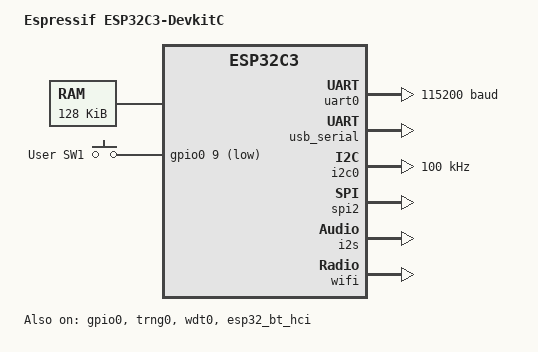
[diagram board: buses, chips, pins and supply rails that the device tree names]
// ESP32-C3-DevKitC Device Tree
// ESP32-C3-DevKitC 设备树
//
// 基于 Zephyr 的 esp32c3_devkitc 设备树配置移植

/dts-v1/;

/ {
    model = "Espressif ESP32C3-DevkitC";
    compatible = "espressif,esp32c3";

    // 内存定义
    // SRAM1
    sram1: memory@403ce000 {
        device_type = "memory";
        reg = <0x403ce000 0x20000>;
    };

    // Flash
    flash0: flash@0 {
        compatible = "soc-nv-flash";
        reg = <0x00000000 0x400000>;
    };

    // GPIO 按键节点定义
    gpio_keys {
        compatible = "gpio-keys";

        user_button1: button_1 {
            label = "User SW1";
            gpios = <&gpio0 9 9>;
            status = "okay";
        };
    };

    // SoC 节点定义
    soc {
        #address-cells = <1>;
        #size-cells = <1>;
        compatible = "espressif,esp32c3";
        ranges;

        // GPIO0 控制器
        gpio0: gpio@3ff44000 {
            compatible = "espressif,gpio";
            reg = <0x3ff44000 0x400>;
            status = "okay";
        };

        // UART0 串口节点定义
        uart0: serial@3ff40000 {
            compatible = "espressif,uart";
            reg = <0x3ff40000 0x400>;
            interrupts = <22>;
            status = "okay";
            current-speed = <115200>;
        };

        // USB Serial 控制器
        usb_serial: usb@60000000 {
            compatible = "espressif,usb-serial";
            reg = <0x60000000 0x10000>;
            interrupts = <20>;
            status = "okay";
        };

        // I2C0 总线节点定义
        i2c0: i2c@3ff3f000 {
            compatible = "espressif,i2c";
            reg = <0x3ff3f000 0x1000>;
            interrupts = <27>;
            clock-frequency = <100000>;
            status = "okay";
        };

        // SPI2 总线节点定义
        spi2: spi@3ff64000 {
            compatible = "espressif,spi";
            reg = <0x3ff64000 0x1000>;
            interrupts = <36>;
            status = "okay";
        };

        // I2S 音频接口
        i2s: i2s@3ff4f000 {
            compatible = "espressif,i2s";
            reg = <0x3ff4f000 0x1000>;
            interrupts = <35>;
            status = "okay";
        };

        // TRNG 随机数生成器
        trng0: trng@3ff5e000 {
            compatible = "espressif,trng";
            reg = <0x3ff5e000 0x1000>;
            status = "okay";
        };

        // 看门狗
        wdt0: watchdog@3ff5f000 {
            compatible = "espressif,wdt";
            reg = <0x3ff5f000 0x1000>;
            status = "okay";
        };

        // TWAI 控制器
        twai: can@3ff4b000 {
            compatible = "espressif,twai";
            reg = <0x3ff4b000 0x1000>;
            interrupts = <32>;
            status = "disabled";
        };

        // WiFi 控制器
        wifi: wifi@3ff00000 {
            compatible = "espressif,wifi";
            reg = <0x3ff00000 0x20000>;
            status = "okay";
        };

        // Bluetooth 控制器
        esp32_bt_hci: bt@3ff00000 {
            compatible = "espressif,bt-hci";
            reg = <0x3ff00000 0x20000>;
            status = "okay";
        };
    };

    aliases {
        sw0 = &user_button1;
        i2c-0 = &i2c0;
        watchdog0 = &wdt0;
        console = &uart0;
        serial0 = &uart0;
    };
};
